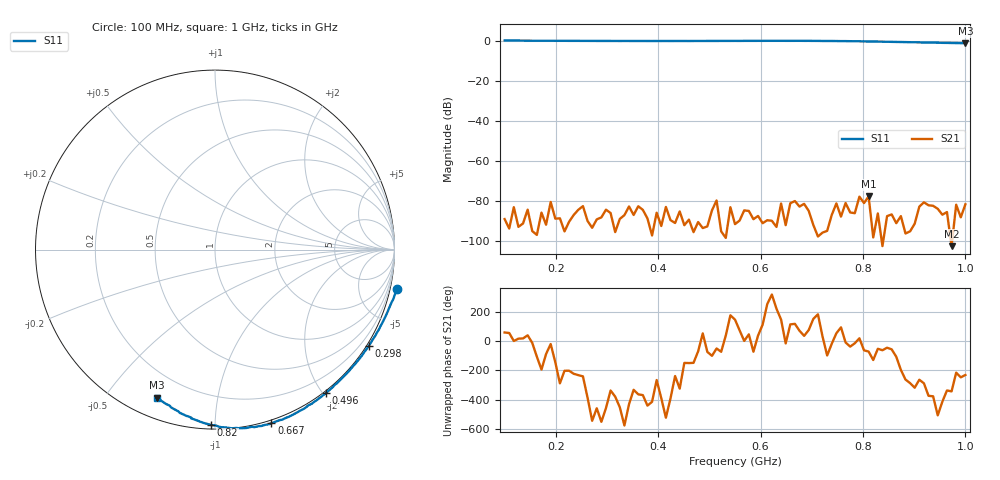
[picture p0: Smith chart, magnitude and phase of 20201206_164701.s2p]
# HZ S RI R 50
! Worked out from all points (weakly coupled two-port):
!   101 points, 100 MHz to 1 GHz, reference 50 ohm
!   highest |S21| = -77.58 dB at 811 MHz (marker M1); lowest = -102.4 dB at 973 MHz (marker M2)
!   lowest |S11| = -1.1 dB at 1 GHz (marker M3), VSWR 16.35, Z = 4.48 - j34 ohm
!   |S11| at or under -10 dB: nowhere
!   S12 and S22 are empty: the file has one direction only
!   S11 on the Smith chart (normalised r, x): 100 MHz: -1.64, -9.08; 298 MHz: -0.07, -3.47; 496 MHz: -0.03, -2.04; 667 MHz: -0.02, -1.38; 820 MHz: 0.02, -0.98; 1 GHz: 0.09, -0.68
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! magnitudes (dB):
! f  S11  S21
! 100 MHz  0.3  -88.9
! 163 MHz  0.2  -96.8
! 253 MHz  0.1  -82.5
! 298 MHz  0.1  -84.2
! 406 MHz  0.1  -92.4
! 496 MHz  0.1  -92.6
! 505 MHz  0.1  -84.6
! 514 MHz  0.1  -79.6
! 523 MHz  0.1  -95.1
! 550 MHz  0.1  -91.4
! 658 MHz  0.1  -81.0
! 667 MHz  0.1  -79.9
! 676 MHz  0.2  -82.7
! 703 MHz  0.1  -91.9
! 784 MHz  -0.1  -86.0
! 793 MHz  -0.1  -77.7
! 802 MHz  -0.1  -80.9
! 811 MHz  -0.2  -77.6
! 820 MHz  -0.2  -98.1
! 856 MHz  -0.4  -86.6
! 973 MHz  -0.9  -102.4
! 1 GHz  -1.1  -81.6
